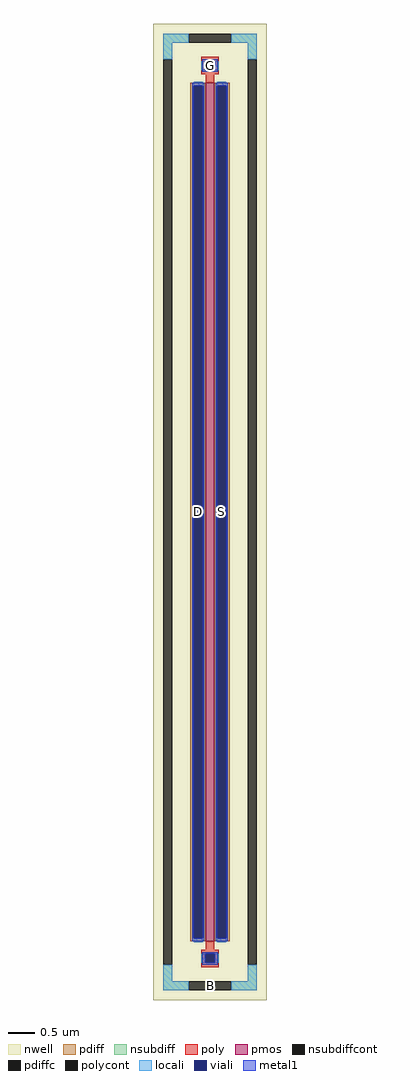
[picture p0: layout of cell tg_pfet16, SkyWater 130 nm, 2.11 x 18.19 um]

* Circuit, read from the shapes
.subckt tg_pfet16 B D S G
XM1 S G D B sky130_fd_pr__pfet_01v8 w=16 l=0.15
.ends

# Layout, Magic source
magic
tech sky130A
magscale 1 2
<< nwell >>
rect -211 -1819 211 1819
<< pmos >>
rect -15 -1600 15 1600
<< pdiff >>
rect -73 1588 -15 1600
rect -73 -1588 -61 1588
rect -27 -1588 -15 1588
rect -73 -1600 -15 -1588
rect 15 1588 73 1600
rect 15 -1588 27 1588
rect 61 -1588 73 1588
rect 15 -1600 73 -1588
<< pdiffc >>
rect -61 -1588 -27 1588
rect 27 -1588 61 1588
<< nsubdiff >>
rect -175 1749 -79 1783
rect 79 1749 175 1783
rect -175 1687 -141 1749
rect 141 1687 175 1749
rect -175 -1749 -141 -1687
rect 141 -1749 175 -1687
rect -175 -1783 -79 -1749
rect 79 -1783 175 -1749
<< nsubdiffcont >>
rect -79 1749 79 1783
rect -175 -1687 -141 1687
rect 141 -1687 175 1687
rect -79 -1783 79 -1749
<< poly >>
rect -33 1681 33 1697
rect -33 1647 -17 1681
rect 17 1647 33 1681
rect -33 1631 33 1647
rect -15 1600 15 1631
rect -15 -1631 15 -1600
rect -33 -1647 33 -1631
rect -33 -1681 -17 -1647
rect 17 -1681 33 -1647
rect -33 -1697 33 -1681
<< polycont >>
rect -17 1647 17 1681
rect -17 -1681 17 -1647
<< locali >>
rect -175 1749 -79 1783
rect 79 1749 175 1783
rect -175 1687 -141 1749
rect 141 1687 175 1749
rect -33 1647 -17 1681
rect 17 1647 33 1681
rect -61 1588 -27 1604
rect -61 -1604 -27 -1588
rect 27 1588 61 1604
rect 27 -1604 61 -1588
rect -33 -1681 -17 -1647
rect 17 -1681 33 -1647
rect -175 -1749 -141 -1687
rect 141 -1749 175 -1687
rect -175 -1783 -79 -1749
rect 79 -1783 175 -1749
<< viali >>
rect -17 1647 17 1681
rect -61 -1588 -27 1588
rect 27 -1588 61 1588
rect -17 -1681 17 -1647
<< metal1 >>
rect -29 1681 29 1687
rect -29 1647 -17 1681
rect 17 1647 29 1681
rect -29 1641 29 1647
rect -67 1588 -21 1600
rect -67 -1588 -61 1588
rect -27 -1588 -21 1588
rect -67 -1600 -21 -1588
rect 21 1588 67 1600
rect 21 -1588 27 1588
rect 61 -1588 67 1588
rect 21 -1600 67 -1588
rect -29 -1647 29 -1641
rect -29 -1681 -17 -1647
rect 17 -1681 29 -1647
rect -29 -1687 29 -1681
<< labels >>
rlabel nsubdiffcont 0 -1766 0 -1766 0 B
port 1 nsew
rlabel pdiffc -44 0 -44 0 0 D
port 2 nsew
rlabel pdiffc 44 0 44 0 0 S
port 3 nsew
rlabel polycont 0 1664 0 1664 0 G
port 4 nsew
<< properties >>
string FIXED_BBOX -158 -1766 158 1766
<< end >>
